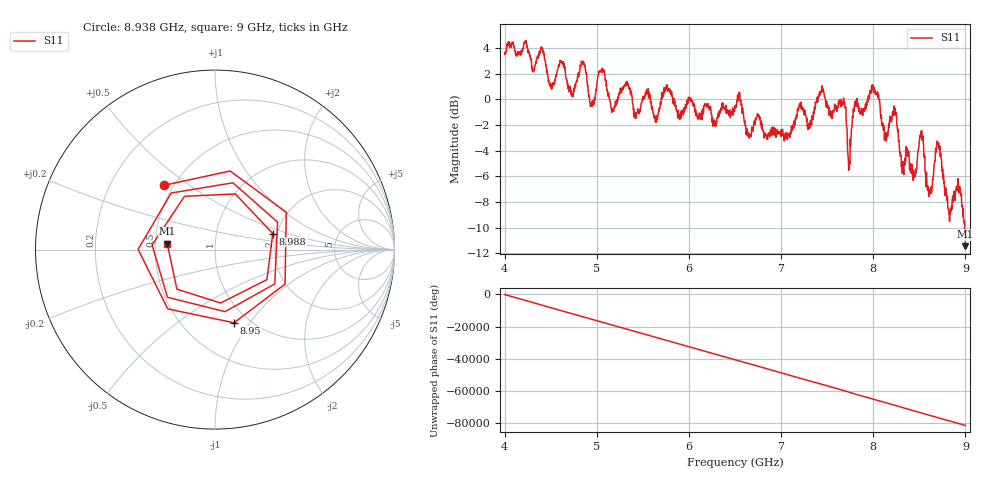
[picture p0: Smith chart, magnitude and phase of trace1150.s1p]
! Created with skrf 1.8.0 (http://scikit-rf.org).
# Hz S RI R 50.0
!freq ReS11 ImS11
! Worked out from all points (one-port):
!   1601 points, 4 GHz to 9 GHz, reference 50 ohm
!   lowest |S11| = -11.4 dB at 9 GHz (marker M1), VSWR 1.73, Z = 29 + j2.01 ohm
!   |S11| at or under -10 dB: 8.992504 GHz to end of sweep
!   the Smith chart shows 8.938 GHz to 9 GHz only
!   S11 on the Smith chart (normalised r, x): 8.938 GHz: 0.44, +0.40; 8.95 GHz: 0.85, -0.84; 8.988 GHz: 1.90, +0.38; 9 GHz: 0.58, +0.04
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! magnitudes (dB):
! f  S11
! 4 GHz  3.6
! 4.403 GHz  4.0
! 4.512 GHz  1.1
! 4.625 GHz  2.9
! 4.722 GHz  0.4
! 4.853 GHz  3.0
! 4.947 GHz  -0.6
! 5.05 GHz  2.3
! 5.162 GHz  -1.0
! 5.25 GHz  0.4
! 5.875 GHz  -1.0
! 6.5 GHz  -0.5
! 7.125 GHz  -2.0
! 7.444 GHz  1.1
! 7.678 GHz  0.1
! 7.75 GHz  -3.1
! 7.8 GHz  -0.3
! 7.997 GHz  1.0
! 8.375 GHz  -4.1
! 8.447 GHz  -6.1
! 8.522 GHz  -3.0
! 8.612 GHz  -7.2
! 8.7 GHz  -3.4
! 8.822 GHz  -8.9
! 8.938 GHz  -6.8
! 8.95 GHz  -7.5
! 8.988 GHz  -9.5
! 9 GHz  -11.4
